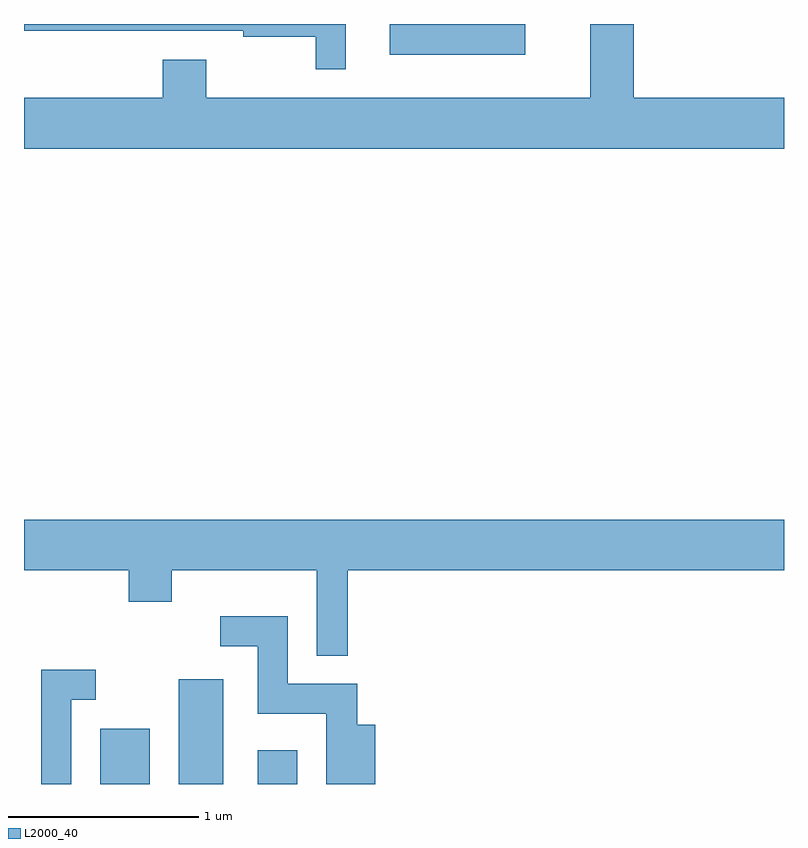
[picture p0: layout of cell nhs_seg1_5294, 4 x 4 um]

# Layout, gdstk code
import gdstk
lib = gdstk.Library(unit=1e-6, precision=1e-09)
def R(c, l, rs):  # rectangles x0, y0, x1, y1
    for r in rs: c.add(gdstk.rectangle(r[:2], r[2:], *l))
def P(c, l, *ps):  # polygons
    for p in ps: c.add(gdstk.Polygon(p, *l))
L2000_40 = (2000, 40)

nhs_seg1_5294 = lib.new_cell('nhs_seg1_5294')
R(nhs_seg1_5294, L2000_40, [(344.011,971.712,344.274,972.004), (344.426,971.712,344.659,972.264), (344.841,971.712,345.049,971.889), (345.536,975.551,346.249,975.712)])
P(nhs_seg1_5294, L2000_40, [(347.611,975.324),(346.819,975.324),(346.819,975.712),(346.591,975.712),(346.591,975.324),(344.569,975.324),(344.569,975.524),(344.341,975.524),(344.341,975.324),(343.611,975.324),(343.611,975.056),(347.611,975.056)],
  [(345.304,975.712),(343.611,975.712),(343.611,975.676),(344.766,975.676),(344.766,975.646),(345.146,975.646),(345.146,975.473),(345.304,975.473)],
  [(345.314,972.836),(347.611,972.836),(347.611,973.104),(343.611,973.104),(343.611,972.836),(344.161,972.836),(344.161,972.671),(344.389,972.671),(344.389,972.836),(345.151,972.836),(345.151,972.388),(345.314,972.388)],
  [(345.459,972.024),(345.364,972.024),(345.364,972.239),(344.999,972.239),(344.999,972.594),(344.643,972.594),(344.643,972.436),(344.841,972.436),(344.841,972.081),(345.201,972.081),(345.201,971.712),(345.459,971.712)],
  [(343.859,972.156),(343.988,972.156),(343.988,972.314),(343.701,972.314),(343.701,971.712),(343.859,971.712)])

lib.write_gds('nhs_seg1_5294.gds')
